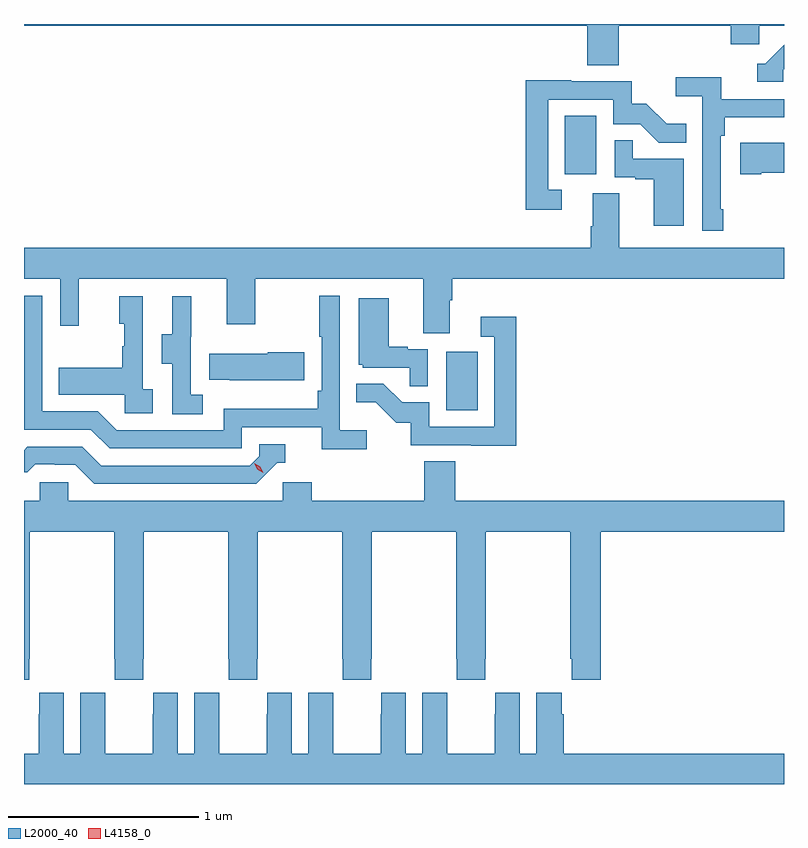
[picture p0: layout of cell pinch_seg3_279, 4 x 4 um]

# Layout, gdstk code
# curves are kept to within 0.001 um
import gdstk
lib = gdstk.Library(unit=1e-6, precision=1e-09)
def R(c, l, rs):  # rectangles x0, y0, x1, y1
    for r in rs: c.add(gdstk.rectangle(r[:2], r[2:], *l))
def P(c, l, *ps):  # polygons
    for p in ps: c.add(gdstk.Polygon(p, *l))
L2000_40 = (2000, 40)
L4158_0 = (4158, 0)

pinch_seg3_279 = lib.new_cell('pinch_seg3_279')
R(pinch_seg3_279, L2000_40, [(926.378,712.212,926.542,712.519), (927.002,713.454,927.166,713.761)])
P(pinch_seg3_279, L2000_40, [(927.284,714.236),(927.875,714.236),(927.875,714.138),(928.026,714.138),(928.026,714.236),(928.155,714.236),(928.155,714.245),(924.155,714.245),(924.155,714.236),(927.119,714.236),(927.119,714.028),(927.284,714.028)],
  [(928.152,714.003),(928.155,714.006),(928.155,714.135),(928.056,714.036),(928.013,714.036),(928.013,713.94),(928.152,713.94)],
  [(927.835,713.269),(927.822,713.269),(927.822,713.657),(927.842,713.657),(927.842,713.753),(928.155,713.753),(928.155,713.85),(927.824,713.85),(927.824,713.966),(927.585,713.966),(927.585,713.864),(927.726,713.864),(927.726,713.157),(927.835,713.157)],
  [(926.986,713.373),(926.913,713.373),(926.913,713.847),(927.255,713.847),(927.255,713.718),(927.399,713.718),(927.497,713.62),(927.641,713.62),(927.641,713.719),(927.537,713.719),(927.43,713.826),(927.354,713.826),(927.354,713.943),(927.035,713.943),(927.035,713.948),(926.797,713.948),(926.797,713.268),(926.986,713.268)],
  [(927.628,713.535),(927.359,713.535),(927.359,713.633),(927.264,713.633),(927.264,713.439),(927.371,713.439),(927.371,713.427),(927.47,713.427),(927.47,713.184),(927.628,713.184)],
  [(928.036,713.462),(928.155,713.462),(928.155,713.62),(927.924,713.62),(927.924,713.455),(928.036,713.455)],
  [(928.155,713.068),(927.289,713.068),(927.289,713.354),(927.149,713.354),(927.149,713.18),(927.137,713.18),(927.137,713.068),(924.155,713.068),(924.155,712.904),(924.345,712.904),(924.345,712.656),(924.443,712.656),(924.443,712.904),(925.223,712.904),(925.223,712.665),(925.371,712.665),(925.371,712.904),(926.255,712.904),(926.255,712.618),(926.395,712.618),(926.395,712.792),(926.408,712.792),(926.408,712.904),(928.155,712.904)],
  [(925.96,712.108),(925.818,712.108),(925.818,712.816),(925.71,712.816),(925.71,712.6),(925.722,712.6),(925.722,712.315),(925.702,712.315),(925.702,712.219),(925.206,712.219),(925.206,712.107),(924.642,712.107),(924.543,712.206),(924.252,712.206),(924.252,712.815),(924.155,712.815),(924.156,712.11),(924.506,712.11),(924.605,712.011),(925.302,712.011),(925.302,712.122),(925.721,712.122),(925.721,712.006),(925.96,712.006)],
  [(924.832,712.322),(924.78,712.322),(924.78,712.813),(924.656,712.813),(924.656,712.668),(924.682,712.668),(924.682,712.55),(924.672,712.55),(924.672,712.435),(924.337,712.435),(924.337,712.295),(924.684,712.295),(924.684,712.197),(924.832,712.197)],
  [(925.096,712.295),(925.032,712.295),(925.032,712.599),(925.034,712.599),(925.034,712.813),(924.935,712.813),(924.935,712.611),(924.881,712.611),(924.881,712.456),(924.936,712.456),(924.936,712.192),(925.096,712.192)],
  [(926.28,712.533),(926.174,712.533),(926.174,712.546),(926.074,712.546),(926.074,712.801),(925.916,712.801),(925.916,712.452),(925.938,712.452),(925.938,712.437),(926.185,712.437),(926.185,712.339),(926.28,712.339)],
  [(926.747,712.705),(926.559,712.705),(926.559,712.599),(926.631,712.599),(926.631,712.125),(926.289,712.125),(926.289,712.254),(926.145,712.254),(926.047,712.352),(925.903,712.352),(925.903,712.253),(926.007,712.253),(926.114,712.146),(926.191,712.146),(926.191,712.029),(926.509,712.029),(926.509,712.024),(926.747,712.024)],
  [(925.63,712.518),(925.439,712.518),(925.439,712.51),(925.129,712.51),(925.129,712.373),(925.237,712.373),(925.237,712.37),(925.63,712.37)],
  [(925.488,711.936),(925.531,711.936),(925.531,712.032),(925.392,712.032),(925.392,711.969),(925.344,711.921),(924.561,711.921),(924.462,712.02),(924.173,712.02),(924.155,712.002),(924.155,711.885),(924.173,711.885),(924.215,711.927),(924.318,711.927),(924.318,711.924),(924.425,711.924),(924.524,711.825),(925.377,711.825)],
  [(924.155,710.793),(924.183,710.793),(924.183,710.905),(924.186,710.905),(924.186,711.572),(924.631,711.572),(924.631,710.905),(924.633,710.905),(924.633,710.793),(924.783,710.793),(924.783,710.905),(924.786,710.905),(924.786,711.572),(925.231,711.572),(925.231,710.905),(925.233,710.905),(925.233,710.793),(925.383,710.793),(925.383,710.905),(925.386,710.905),(925.386,711.572),(925.831,711.572),(925.831,710.905),(925.833,710.905),(925.833,710.793),(925.983,710.793),(925.983,710.905),(925.986,710.905),(925.986,711.572),(926.431,711.572),(926.431,710.905),(926.433,710.905),(926.433,710.793),(926.583,710.793),(926.583,710.905),(926.586,710.905),(926.586,711.572),(927.031,711.572),(927.031,710.905),(927.037,710.905),(927.037,710.793),(927.191,710.793),(927.191,711.572),(928.155,711.572),(928.155,711.736),(926.426,711.736),(926.426,711.944),(926.261,711.944),(926.261,711.736),(925.67,711.736),(925.67,711.834),(925.518,711.834),(925.518,711.736),(924.387,711.736),(924.387,711.834),(924.237,711.834),(924.237,711.736),(924.155,711.736)],
  [(926.996,710.612),(926.986,710.612),(926.986,710.725),(926.852,710.725),(926.852,710.404),(926.764,710.404),(926.764,710.725),(926.634,710.725),(926.634,710.612),(926.633,710.612),(926.633,710.404),(926.383,710.404),(926.383,710.612),(926.382,710.612),(926.382,710.725),(926.252,710.725),(926.252,710.404),(926.164,710.404),(926.164,710.725),(926.034,710.725),(926.034,710.612),(926.033,710.612),(926.033,710.404),(925.783,710.404),(925.783,710.612),(925.782,710.612),(925.782,710.725),(925.652,710.725),(925.652,710.404),(925.564,710.404),(925.564,710.725),(925.434,710.725),(925.434,710.612),(925.433,710.612),(925.433,710.404),(925.183,710.404),(925.183,710.612),(925.182,710.612),(925.182,710.725),(925.052,710.725),(925.052,710.404),(924.964,710.404),(924.964,710.725),(924.834,710.725),(924.834,710.612),(924.833,710.612),(924.833,710.404),(924.583,710.404),(924.583,710.612),(924.582,710.612),(924.582,710.725),(924.452,710.725),(924.452,710.404),(924.364,710.404),(924.364,710.725),(924.234,710.725),(924.234,710.612),(924.233,710.612),(924.233,710.404),(924.155,710.404),(924.155,710.245),(928.155,710.245),(928.155,710.404),(926.996,710.404)])
P(pinch_seg3_279, L4158_0, [(925.414,711.882),(925.383,711.901),(925.367,711.934),(925.367,711.934),(925.367,711.934),(925.398,711.915),(925.414,711.883),(925.414,711.882)])

lib.write_gds('pinch_seg3_279.gds')
